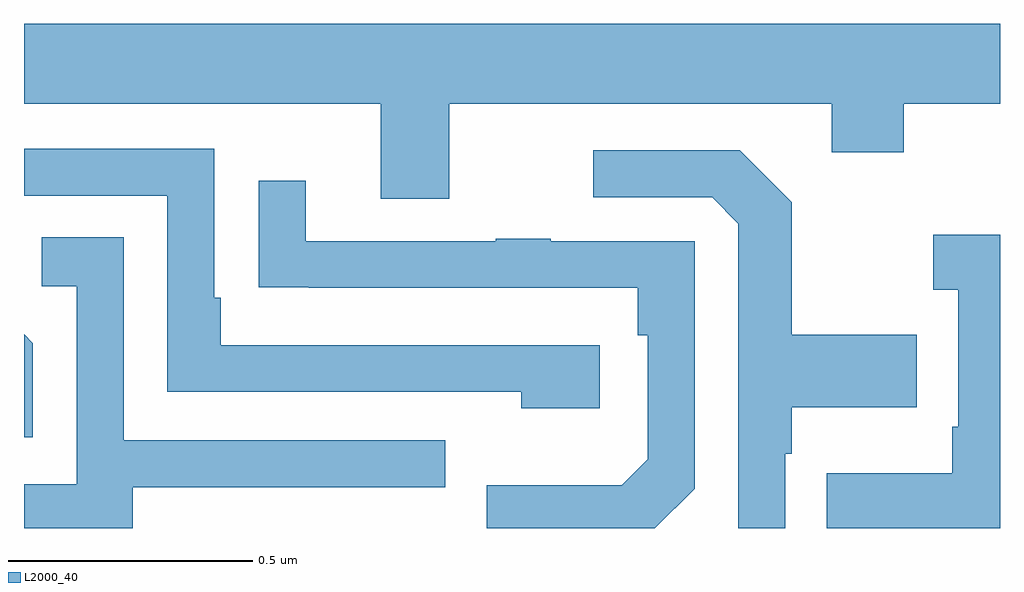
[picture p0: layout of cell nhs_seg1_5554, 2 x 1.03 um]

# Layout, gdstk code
import gdstk
lib = gdstk.Library(unit=1e-6, precision=1e-09)
def P(c, l, *ps):  # polygons
    for p in ps: c.add(gdstk.Polygon(p, *l))
L2000_40 = (2000, 40)

nhs_seg1_5554 = lib.new_cell('nhs_seg1_5554')
P(nhs_seg1_5554, L2000_40, [(180.871,549.068),(181.655,549.068),(181.655,548.969),(181.803,548.969),(181.803,549.068),(182,549.068),(182,549.232),(180,549.232),(180,549.068),(180.731,549.068),(180.731,548.874),(180.871,548.874)],
  [(181.18,548.574),(180.403,548.574),(180.403,548.671),(180.39,548.671),(180.39,548.976),(180,548.976),(180,548.88),(180.294,548.88),(180.294,548.478),(181.019,548.478),(181.019,548.444),(181.18,548.444)],
  [(181.56,548.351),(181.573,548.351),(181.573,548.447),(181.829,548.447),(181.829,548.595),(181.573,548.595),(181.573,548.867),(181.467,548.973),(181.167,548.973),(181.167,548.877),(181.41,548.877),(181.464,548.823),(181.464,548.199),(181.56,548.199)],
  [(181.374,548.28),(181.374,548.787),(181.079,548.787),(181.079,548.792),(180.967,548.792),(180.967,548.787),(180.577,548.787),(180.577,548.911),(180.481,548.911),(180.481,548.692),(180.583,548.692),(180.583,548.691),(181.258,548.691),(181.258,548.594),(181.278,548.594),(181.278,548.34),(181.225,548.287),(180.948,548.287),(180.948,548.199),(181.293,548.199)],
  [(182,548.8),(181.863,548.8),(181.863,548.687),(181.914,548.687),(181.914,548.407),(181.902,548.407),(181.902,548.311),(181.645,548.311),(181.645,548.199),(182,548.199)],
  [(180.223,548.283),(180.863,548.283),(180.863,548.379),(180.204,548.379),(180.204,548.795),(180.036,548.795),(180.036,548.694),(180.108,548.694),(180.108,548.289),(180,548.289),(180,548.199),(180.223,548.199)],
  [(180.018,548.578),(180,548.596),(180,548.385),(180.018,548.385)])

lib.write_gds('nhs_seg1_5554.gds')
